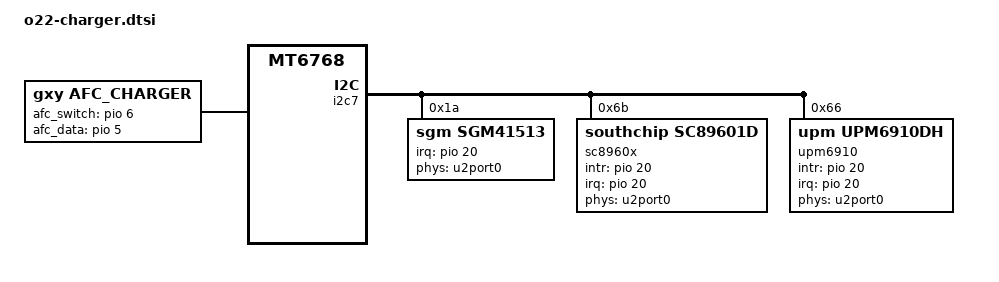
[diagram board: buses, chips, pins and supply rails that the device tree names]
/* AL6528A code for SR-AL6528A-01-307 by wenyaqi at 2022/08/30 start */
#include <dt-bindings/phy/phy.h>
#include <dt-bindings/iio/mt635x-auxadc.h>
/*A14V code for P250108-07220 by chenyulin at 20250117 start*/
#include "../bat_setting/mt6768_battery_prop_o22.dtsi"
/*A14V code for P250108-07220 by chenyulin at 20250117 end*/
&i2c7 {
    sgm41513 {
        status = "okay";
        compatible = "sgm,sgm41513";
        reg = <0x1A>;

        interrupt-parent = <&pio>;
        interrupts = <20 IRQ_TYPE_EDGE_FALLING>;
        sgm,irq-gpio = <&pio 20 0x0>;
        input-current-limit-microamp = <2400000>;
        phys = <&u2port0 PHY_TYPE_USB2>;
        phy-names = "usb2-phy";
        usb = <&usb>;
    };

    /*A14 code for SR-AL6528V-01-119 by gaoxugang at 20240906 start*/
    sc8960x: sc8960x@6B {
        compatible = "southchip,sc89601d";
        reg = <0x6B>;
        status = "okay";

        interrupt-parent = <&pio>;
        interrupts = <20 IRQ_TYPE_EDGE_FALLING 123 0>;
        sc8960x,intr-gpio = <&pio 20 0x0>; /* GPIO */
        sc,intr_gpio_num = <20>;
        sc8960x,charger_name = "primary_chg";

        sc8960x,pfm-dis = <0>; /*0: enable, 1: disable*/
        sc8960x,vsys-min = <5>; /*0: 2.6V, 1: 2.8V, 2: 3.0V,
                    3: 3.2V, 4: 3.4V, 5: 3.5V, 6:3.6V, 7: 3.7V*/
        sc8960x,vbat-low-otg = <0>; /*0: 2.8V, 1: 2.5V*/
        sc8960x,ipre-chg = <2>; /*60 + val * 60, unit:mA*/
        sc8960x,itermination = <2>; /*60 + val * 60, unit:mA*/
        sc8960x,vbat-volt = <69>; /*3848 + val * 8, unit:mV*/
        sc8960x,top-off-timer = <0>; /*0: dis, 1: 15min, 2: 20min 3: 45min*/
        sc8960x,vrechg-volt = <0>; /*0: 100mV, 1: 200mV*/
        sc8960x,en-termination = <1>; /*0: disable, 1: enable*/
        sc8960x,wdt-timer = <0>; /*0: disable, 1: 40s, 2: 80s, 3：160s*/
        sc8960x,en-chg-saft-timer = <1>; /*0: disable, 1: enable*/
        sc8960x,charge-timer = <1>; /*0: 5hrs, 1: 10hrs*/
        sc8960x,vac-ovp = <3>; /*0: 5.8V, 1: 6.4V, 2: 11V, 3: 14.2V*/
        sc8960x,iboost = <1>; /*0: 0.5A, 1: 1.2A*/
        sc8960x,vboost = <12>; /*3900 + val * 100, unit:mV*/
        sc8960x,vindpm-track = <0>; /*0: disable, 1:200mV, 2:250mV, 3:300mV*/
        sc8960x,vindpm-int-mask = <1>; /*0: not mask, 1: mask*/
        sc8960x,iindpm-int-mask = <1>; /*0: not mask, 1: mask*/
        sc8960x,vpre-to-cc = <0>; /*0: 3V, 1: 2.8V*/
        /*A14_V code for P250902-05244 by xiongxiaoliang at 20250906 start*/
        sc8960x,auto-dpdm-en = <0>; /*0: disale, 1: enable*/
        /*A14_V code for P250902-05244 by xiongxiaoliang at 20250906 end*/
        sc8960x,ntc-pin-dis = <1>; /*0: enable, 1: disable*/
        phys = <&u2port0 PHY_TYPE_USB2>;
        phy-names = "usb2-phy";
        usb = <&usb>;
    };
    /*A14 code for SR-AL6528V-01-119 by gaoxugang at 20240906 end*/

    /*A14 code for SR-AL6528V-01-115 by gaoxugang at 20240911 start*/
    upm6910@66 {
        compatible = "upm,upm6910dh";
        reg = <0x66>;
        status = "okay";

        interrupt-parent = <&pio>;
        interrupts = <20 IRQ_TYPE_EDGE_FALLING>;
        charger_name = "primary_chg";
        upm6910x,intr_gpio = <&pio 20 0x0>; /* GPIO */
        upm6910x,intr_gpio_num  = <20>;
        phys = <&u2port0 PHY_TYPE_USB2>;
        phy-names = "usb2-phy";
        usb = <&usb>;
    };
    /*A14 code for SR-AL6528V-01-115 by gaoxugang at 20240911 end*/
};
/* AL6528A code for SR-AL6528A-01-307 by wenyaqi at 2022/08/30 end */

/* hs14 code for AL6528ADEU-248 by wenyaqi at 2022/10/02 start */
&lk_charger {
    max_charger_voltage = <10400000>;
    ac_charger_input_current = <1500000>;

    /* hs14 code for SR-AL6528A-01-323 by gaozhengwei at 2022/10/26 start */
    /* battery temperature protection */
    temp_t4_threshold = <50>;
    temp_t3_threshold = <45>;
    temp_t2_threshold = <12>;
    temp_t1_threshold = <5>;
    temp_t0_threshold = <0>;
    /* hs14 code for SR-AL6528A-01-323 by gaozhengwei at 2022/10/26 end */
};
/* hs14 code for AL6528ADEU-248 by wenyaqi at 2022/10/02 end */

/* hs14 code for SR-AL6528A-01-322 by wenyaqi at 2022/09/15 start */
&charger {
    io-channels = <&pmic_auxadc AUXADC_VCDT>;
    io-channel-names = "pmic_vbus";
    /*A14_V code for AL6528A-14 by shanxinkai at 20240926 start*/
    max_charger_voltage = <10400000>;
    /*A14_V code for AL6528A-14 by shanxinkai at 20240926 end*/
    charger_voltage_drop = <700000>;

    /* hs14 code for SR-AL6528A-01-323 by gaozhengwei at 2022/09/22 start */
    /* common */
    /* hs14_u code for AL6528AU-247 by liufurong at 2023/12/27 start */
    battery_cv = <4380000>;
    /* hs14_u code for AL6528AU-247 by liufurong at 2023/12/27 end */

    /* charging current */
    ac_charger_current = <2000000>;
    ac_charger_input_current = <1550000>;

    /* sw jeita */
    enable_sw_jeita;
    jeita_temp_above_t4_cv = <4200000>;
    jeita_temp_t3_to_t4_cv = <4200000>;
    /* hs14_u code for AL6528AU-247 by liufurong at 2023/12/27 start */
    jeita_temp_t2_to_t3_cv = <4380000>;
    jeita_temp_t1_to_t2_cv = <4380000>;
    jeita_temp_t0_to_t1_cv = <4380000>;
    jeita_temp_below_t0_cv = <4380000>;
    /* hs14_u code for AL6528AU-247 by liufurong at 2023/12/27 end */
    jeita_temp_above_t4_cur = <0>;
    jeita_temp_t3_to_t4_cur = <1750000>;
    /* hs14 code for SR-AL6528A-01-322 by wenyaqi at 2022/09/23 start */
    jeita_temp_t2_to_t3_cur = <2700000>;
    /* hs14 code for SR-AL6528A-01-322 by wenyaqi at 2022/09/23 end */
    jeita_temp_t1_to_t2_cur = <1500000>;
    jeita_temp_t0_to_t1_cur = <500000>;
    jeita_temp_below_t0_cur = <0>;
    temp_t4_thres = <50>;
    temp_t4_thres_minus_x_degree = <48>;
    temp_t3_thres = <45>;
    temp_t3_thres_minus_x_degree = <43>;
    temp_t2_thres = <12>;
    temp_t2_thres_plus_x_degree = <14>;
    temp_t1_thres = <5>;
    temp_t1_thres_plus_x_degree = <7>;
    temp_t0_thres = <0>;
    /*A14 code for SR-AL6528V-01-26 by zhangziyi at 20240929 start*/
    /* hs14 code for  SR-AL6528A-01-338 by chengyuanhang at 2022/10/03 start */
    gxy-batt-aging-enable;
    /* hs14_u code for AL6528AU-247 by liufurong at 2023/12/28 start */
    gxy-cv-ranges = <0 199 4380000
                200 249 4360000
                250 299 4340000
                300 1000 4320000
                1001 9999 4270000>;
    /* hs14_u code for AL6528AU-247 by liufurong at 2023/12/28 end */
    /* hs14 code for SR-AL6528A-01-338 by chengyuanhang at 2022/10/03 end */
    /*A14 code for SR-AL6528V-01-26 by zhangziyi at 20240929 end*/
    temp_t0_thres_plus_x_degree = <2>;
    temp_neg_10_thres = <0>;
    /* hs14 code for SR-AL6528A-01-323 by gaozhengwei at 2022/09/22 end */
};
/* hs14 code for SR-AL6528A-01-322 by wenyaqi at 2022/09/15 end */

/*A14 code for SR-AL6528V-01-120 by gaoxugang at 20240920 start*/
&pdc {
    pd_vbus_upper_bound = <10000000>;
    pd_stop_battery_soc = <100>;
    /* single charger */
    sc_input_current = <1700000>;
    sc_charger_current = <2700000>;
    /* dual charger */
    vbat_threshold = <4450>;
};

&odm {
    /* AFC  Fast charging */
    afc_charger: afc_charger {
        compatible = "gxy,afc_charger";
        gauge = <&mtk_gauge>;
        status = "okay";

        afc_switch_gpio_num = <6>;
        afc_switch_gpio = <&pio 6 0x0>;
        afc_data_gpio_num = <5>;
        afc_data_gpio = <&pio 5 0x0>;

        afc_start_battery_soc = <0>;
        afc_stop_battery_soc = <100>;
        afc_pre_input_current = <500000>;
        afc_charger_input_current = <1700000>;
        afc_charger_current = <2700000>;
        afc_min_charger_voltage = <4600000>;
        vbat_threshold = <4450>;
    };
};
/*A14 code for SR-AL6528V-01-120 by gaoxugang at 20240920 end*/
